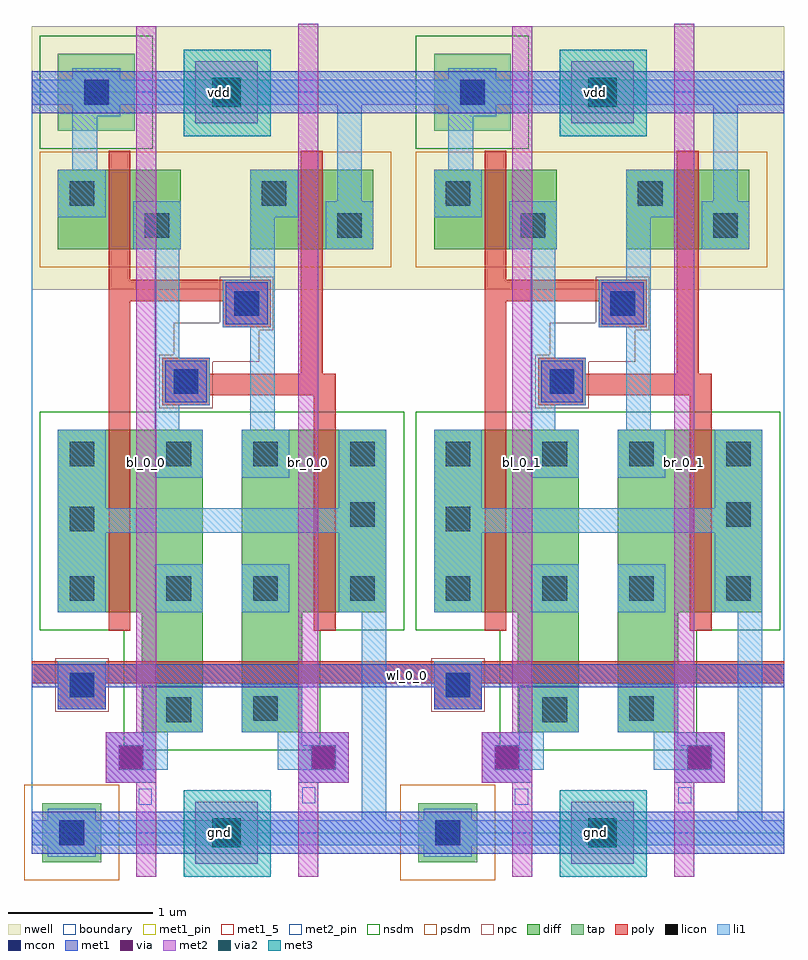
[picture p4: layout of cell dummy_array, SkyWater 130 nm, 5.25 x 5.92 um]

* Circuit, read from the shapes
.subckt dummy_array bl_0_0 bl_0_1 br_0_0 br_0_1 gnd vdd wl_0_0
XM1 dummy_cell_1rw_0/Q dummy_cell_1rw_0/Q_bar gnd gnd sky130_fd_pr__nfet_01v8 w=1.26 l=0.15
XM2 dummy_cell_1rw_0/Q wl_0_0 bl_0_0 gnd sky130_fd_pr__nfet_01v8 w=0.42 l=0.15
XM3 dummy_cell_1rw_0/Q_bar wl_0_0 br_0_0 gnd sky130_fd_pr__nfet_01v8 w=0.42 l=0.15
XM4 gnd dummy_cell_1rw_0/Q dummy_cell_1rw_0/Q_bar gnd sky130_fd_pr__nfet_01v8 w=1.26 l=0.15
XM5 dummy_cell_1rw_1/Q dummy_cell_1rw_1/Q_bar gnd gnd sky130_fd_pr__nfet_01v8 w=1.26 l=0.15
XM6 dummy_cell_1rw_1/Q wl_0_0 bl_0_1 gnd sky130_fd_pr__nfet_01v8 w=0.42 l=0.15
XM7 dummy_cell_1rw_1/Q_bar wl_0_0 br_0_1 gnd sky130_fd_pr__nfet_01v8 w=0.42 l=0.15
XM8 gnd dummy_cell_1rw_1/Q dummy_cell_1rw_1/Q_bar gnd sky130_fd_pr__nfet_01v8 w=1.26 l=0.15
XM9 dummy_cell_1rw_0/Q dummy_cell_1rw_0/Q_bar vdd vdd sky130_fd_pr__pfet_01v8 w=0.55 l=0.15
XM10 vdd dummy_cell_1rw_0/Q dummy_cell_1rw_0/Q_bar vdd sky130_fd_pr__pfet_01v8 w=0.55 l=0.15
XM11 dummy_cell_1rw_1/Q dummy_cell_1rw_1/Q_bar vdd vdd sky130_fd_pr__pfet_01v8 w=0.55 l=0.15
XM12 vdd dummy_cell_1rw_1/Q dummy_cell_1rw_1/Q_bar vdd sky130_fd_pr__pfet_01v8 w=0.55 l=0.15
.ends

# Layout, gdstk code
import gdstk
lib = gdstk.Library(unit=1e-6, precision=1e-09)
def R(c, l, rs):  # rectangles x0, y0, x1, y1
    for r in rs: c.add(gdstk.rectangle(r[:2], r[2:], *l))
nwell = (64, 20)
diff = (65, 20)
tap = (65, 44)
poly = (66, 20)
licon = (66, 44)
li1 = (67, 20)
mcon = (67, 44)
met1_5 = (68, 5)
met1_pin = (68, 16)
met1 = (68, 20)
via = (68, 44)
met2_pin = (69, 16)
met2 = (69, 20)
via2 = (69, 44)
met3 = (70, 20)
nsdm = (93, 44)
psdm = (94, 20)
npc = (95, 20)
boundary = (235, 4)

dummy_cell_1rw = lib.new_cell('dummy_cell_1rw')
R(dummy_cell_1rw, nwell, [(0,3.76,2.6,5.58)])
R(dummy_cell_1rw, diff, [(0.76,0.7,1.18,1.53), (1.45,0.7,1.87,1.53), (0.18,1.53,1.18,2.79), (1.45,1.53,2.45,2.79), (0.18,4.04,1.03,4.59), (1.51,4.04,2.36,4.59)])
R(dummy_cell_1rw, tap, [(0.07,-0.2,0.48,0.21), (0.18,4.86,0.71,5.39)])
R(dummy_cell_1rw, poly, [(0.18,0.86,0.51,1.04), (0,1.04,2.6,1.19), (0.53,1.4,0.68,3.68), (1.95,1.4,2.1,3.03), (0.9,2.96,1.23,3.03), (0.9,3.03,2.1,3.18), (0.9,3.18,1.23,3.29), (1.86,3.18,2.01,4.72), (1.32,3.5,1.65,3.68), (0.53,3.68,1.65,3.83), (0.53,3.83,0.68,4.72)])
R(dummy_cell_1rw, licon, [(0.19,-0.08,0.36,0.09), (0.93,0.77,1.1,0.94), (1.53,0.78,1.7,0.95), (0.26,0.94,0.43,1.11), (0.26,1.61,0.43,1.78), (0.93,1.61,1.1,1.78), (1.53,1.61,1.7,1.78), (2.2,1.61,2.37,1.78), (0.26,2.09,0.43,2.26), (2.2,2.12,2.37,2.29), (0.26,2.54,0.43,2.71), (0.93,2.54,1.1,2.71), (1.53,2.54,1.7,2.71), (2.2,2.54,2.37,2.71), (0.98,3.04,1.15,3.21), (1.4,3.58,1.57,3.75), (0.78,4.12,0.95,4.29), (2.11,4.12,2.28,4.29), (0.26,4.34,0.43,4.51), (1.59,4.34,1.76,4.51), (0.36,5.04,0.53,5.21)])
R(dummy_cell_1rw, li1, [(0.11,-0.16,0.44,-0.08), (0,-0.08,2.6,0.09), (0.11,0.09,0.44,0.17), (2.28,0.09,2.45,1.53), (0.6,0.44,0.94,0.61), (1.7,0.44,2.1,0.61), (0.77,0.61,0.94,0.7), (1.7,0.61,1.87,0.7), (0.77,0.7,1.18,1.02), (1.45,0.7,1.87,1.03), (0.18,0.86,0.51,1.19), (0.18,1.53,0.51,2.08), (0.85,1.53,1.18,1.86), (1.45,1.53,1.78,1.86), (2.12,1.53,2.45,2.08), (0.18,2.08,2.45,2.25), (0.18,2.25,0.51,2.79), (2.12,2.25,2.45,2.79), (0.85,2.46,1.18,2.79), (1.45,2.46,1.78,2.79), (0.85,2.79,1.02,2.96), (1.51,2.79,1.68,3.5), (0.85,2.96,1.23,3.29), (0.85,3.29,1.02,4.04), (1.32,3.5,1.68,3.83), (1.51,3.83,1.68,4.26), (0.7,4.04,1.03,4.37), (2.03,4.04,2.36,4.37), (0.18,4.26,0.51,4.59), (1.51,4.26,1.84,4.59), (2.11,4.37,2.28,5.04), (0.28,4.59,0.45,4.96), (0.28,4.96,0.61,5.04), (0,5.04,2.6,5.21), (0.28,5.21,0.61,5.29)])
R(dummy_cell_1rw, mcon, [(0.19,-0.08,0.36,0.09), (1.27,-0.08,1.44,0.09), (0.6,0.44,0.77,0.61), (1.93,0.44,2.1,0.61), (0.26,0.94,0.43,1.11), (0.98,3.04,1.15,3.21), (1.4,3.58,1.57,3.75), (0.36,5.04,0.53,5.21), (1.27,5.04,1.44,5.21)])
R(dummy_cell_1rw, met1_5, [(1.02,3.08,1.13,3.19), (1.43,3.61,1.54,3.72)])
R(dummy_cell_1rw, met1_pin, [(0.22,-0.04,0.35,0.07), (0.28,0.96,0.41,1.07), (0.38,5.09,0.51,5.2)])
R(dummy_cell_1rw, met1, [(0,-0.14,2.6,0.15), (0,-0.14,2.6,0.15), (0.51,0.35,0.86,0.7), (1.84,0.35,2.19,0.7), (0.18,0.86,0.51,1.01), (0.2,1.01,0.49,1.17), (0.2,1.01,0.49,1.17), (0.92,2.98,1.21,3.27), (1.34,3.52,1.63,3.81), (0,4.98,2.6,5.27), (0,4.98,2.6,5.27)])
R(dummy_cell_1rw, via, [(1.275,-0.065,1.425,0.085), (0.61,0.45,0.76,0.6), (1.94,0.45,2.09,0.6), (1.275,5.055,1.425,5.205)])
R(dummy_cell_1rw, met2_pin, [(0.74,0.2,0.83,0.31), (1.87,0.21,1.96,0.32)])
R(dummy_cell_1rw, met2, [(0.72,-0.3,0.86,0.35), (0.72,-0.3,0.86,0.35), (1.84,-0.3,1.98,0.35), (1.84,-0.3,1.98,0.35), (1.13,-0.21,1.56,0.22), (0.51,0.35,0.86,0.7), (1.84,0.35,2.19,0.7), (0.72,0.7,0.86,5.58), (1.84,0.7,1.98,5.6), (1.13,4.91,1.56,5.34)])
R(dummy_cell_1rw, via2, [(1.245,-0.095,1.445,0.105), (1.245,5.025,1.445,5.225)])
R(dummy_cell_1rw, met3, [(1.05,-0.3,1.65,0.3), (1.05,4.82,1.65,5.42)])
R(dummy_cell_1rw, nsdm, [(0.635,0.575,1.995,1.405), (0.055,1.405,2.575,2.915), (0.055,4.735,0.835,5.515)])
R(dummy_cell_1rw, psdm, [(-0.055,-0.325,0.605,0.335), (0.055,3.915,2.485,4.715)])
R(dummy_cell_1rw, npc, [(0.16,0.84,0.53,1.21), (0.88,2.94,1.25,3.26), (0.88,3.26,1.57,3.31), (0.98,3.31,1.57,3.48), (0.98,3.48,1.67,3.53), (1.3,3.53,1.67,3.85)])
R(dummy_cell_1rw, boundary, [(0,0,2.6,5.13)])
dummy_cell_1rw.add(gdstk.Label('Q_bar', (1.485,3.665), layer=68, texttype=5))
dummy_cell_1rw.add(gdstk.Label('Q', (1.075,3.135), layer=68, texttype=5))
dummy_cell_1rw.add(gdstk.Label('bl', (0.785,0.255), layer=69, texttype=16))
dummy_cell_1rw.add(gdstk.Label('br', (1.915,0.265), layer=69, texttype=16))
dummy_cell_1rw.add(gdstk.Label('wl', (0.345,1.015), layer=68, texttype=16))
dummy_cell_1rw.add(gdstk.Label('vdd', (0.445,5.145), layer=68, texttype=16))
dummy_cell_1rw.add(gdstk.Label('gnd', (0.285,0.015), layer=68, texttype=16))
dummy_cell_1rw.add(gdstk.Label('bl', (0.79,0.025), layer=69, texttype=20))
dummy_cell_1rw.add(gdstk.Label('br', (1.91,0.025), layer=69, texttype=20))
dummy_cell_1rw.add(gdstk.Label('wl', (0.345,1.09), layer=68, texttype=20))
dummy_cell_1rw.add(gdstk.Label('vdd', (1.3,5.125), layer=68, texttype=20))
dummy_cell_1rw.add(gdstk.Label('gnd', (1.3,0.005), layer=68, texttype=20))

dummy_array = lib.new_cell('dummy_array')
R(dummy_array, met1, [(0,-0.14,2.6,0.15), (2.6,-0.14,5.2,0.15), (0,1.01,5.2,1.17), (0,4.98,2.6,5.27), (2.6,4.98,5.2,5.27)])
R(dummy_array, met2, [(0.72,0,0.86,5.13), (1.84,0,1.98,5.13), (3.32,0,3.46,5.13), (4.44,0,4.58,5.13)])
R(dummy_array, boundary, [(0,0,5.2,5.13)])
dummy_array.add(gdstk.Reference(dummy_cell_1rw, (0,0)))
dummy_array.add(gdstk.Reference(dummy_cell_1rw, (2.6,0)))
dummy_array.add(gdstk.Label('bl_0_0', (0.79,2.565), layer=69, texttype=20))
dummy_array.add(gdstk.Label('br_0_0', (1.91,2.565), layer=69, texttype=20))
dummy_array.add(gdstk.Label('bl_0_1', (3.39,2.565), layer=69, texttype=20))
dummy_array.add(gdstk.Label('br_0_1', (4.51,2.565), layer=69, texttype=20))
dummy_array.add(gdstk.Label('wl_0_0', (2.6,1.09), layer=68, texttype=20))
dummy_array.add(gdstk.Label('vdd', (1.3,5.125), layer=68, texttype=20))
dummy_array.add(gdstk.Label('vdd', (3.9,5.125), layer=68, texttype=20))
dummy_array.add(gdstk.Label('gnd', (1.3,0.005), layer=68, texttype=20))
dummy_array.add(gdstk.Label('gnd', (3.9,0.005), layer=68, texttype=20))

lib.write_gds('dummy_array.gds')
